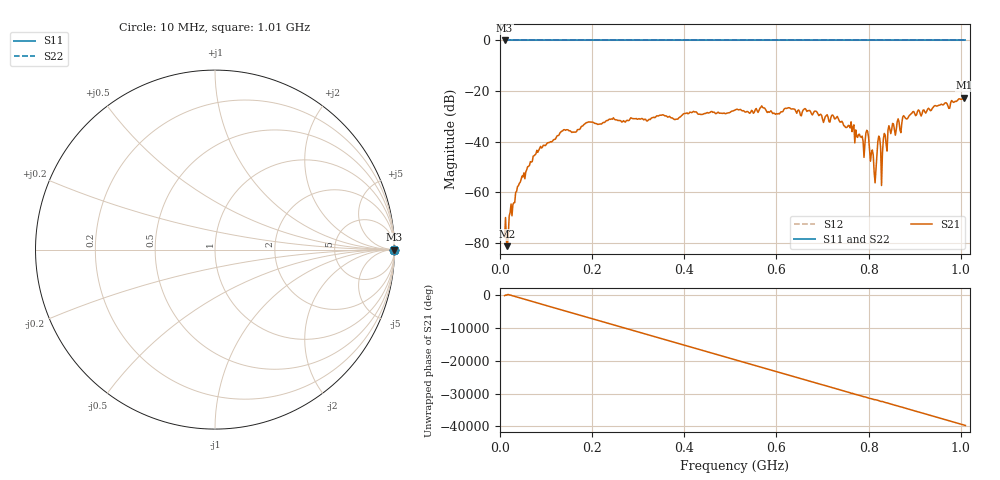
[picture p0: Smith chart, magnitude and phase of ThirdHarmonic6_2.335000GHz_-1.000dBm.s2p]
! 8/17/2025 3:24:43 AM
! C:\ANRITSUVNA\TEMP\TEMP.S2P
! CHANNEL.1
! TR.MEASUREMENT
! RAW.DATA
! RF.CORRECTION.OFF
! AVERAGING.OFF
! IF.BANDWIDTH: 5KHZ
! SWEEPTYPE:  FREQ.SWEEP(Linear)
! Reference Plane Port Info
! PORT:  PORT1  PORT2
! DISTANCE:  0  m  0  m
! TIME:  0  s  0  s
! PHASE.OFFSET:  0  deg.  0  deg.
! LOSS:  0  dB  0  dB
! REF.LOSS:  0  dB  0  dB
! REF.FREQ:  0  Hz  0  Hz
! Power Info
! POWER:  -20  dBm  -20  dBm
! EFF.POWER:  -20  dBm  -20  dBm
! SOURCE.ATTEN:  0  dB  0  dB
! TEST.ATTEN:  0  dB  0  dB
# GHZ S RI R 50.0
! FREQ.GHZ  S11RE  S11IM  S21RE  S21IM  S12RE  S12IM  S22RE  S22IM
!; PortSelection: Port_12
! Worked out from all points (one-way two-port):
!   501 points, 10 MHz to 1.01 GHz, reference 50 ohm
!   highest |S21| = -22.62 dB at 1.008 GHz (marker M1); lowest = -81.3 dB at 16 MHz (marker M2)
!   lowest |S11| = 0.0 dB at 10 MHz (marker M3)
!   |S11| at or under -10 dB: nowhere
!   |S22| runs from 0.0 to 0.0 dB; largest |S21 - S12| = 1.1
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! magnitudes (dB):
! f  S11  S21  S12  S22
! 10 MHz  0.0  -77.8  0.0  0.0
! 16 MHz  0.0  -81.3  0.0  0.0
! 38 MHz  0.0  -57.8  0.0  0.0
! 76 MHz  0.0  -45.2  0.0  0.0
! 136 MHz  0.0  -35.7  0.0  0.0
! 178 MHz  0.0  -33.9  0.0  0.0
! 344 MHz  0.0  -29.8  0.0  0.0
! 382 MHz  0.0  -31.1  0.0  0.0
! 416 MHz  0.0  -28.5  0.0  0.0
! 510 MHz  0.0  -27.5  0.0  0.0
! 678 MHz  0.0  -29.4  0.0  0.0
! 764 MHz  0.0  -36.0  0.0  0.0
! 788 MHz  0.0  -39.9  0.0  0.0
! 796 MHz  0.0  -35.5  0.0  0.0
! 814 MHz  0.0  -56.2  0.0  0.0
! 822 MHz  0.0  -37.8  0.0  0.0
! 828 MHz  0.0  -57.3  0.0  0.0
! 834 MHz  0.0  -36.8  0.0  0.0
! 844 MHz  0.0  -33.7  0.0  0.0
! 894 MHz  0.0  -28.7  0.0  0.0
! 1.008 GHz  0.0  -22.6  0.0  0.0
! 1.01 GHz  0.0  -22.9  0.0  0.0
